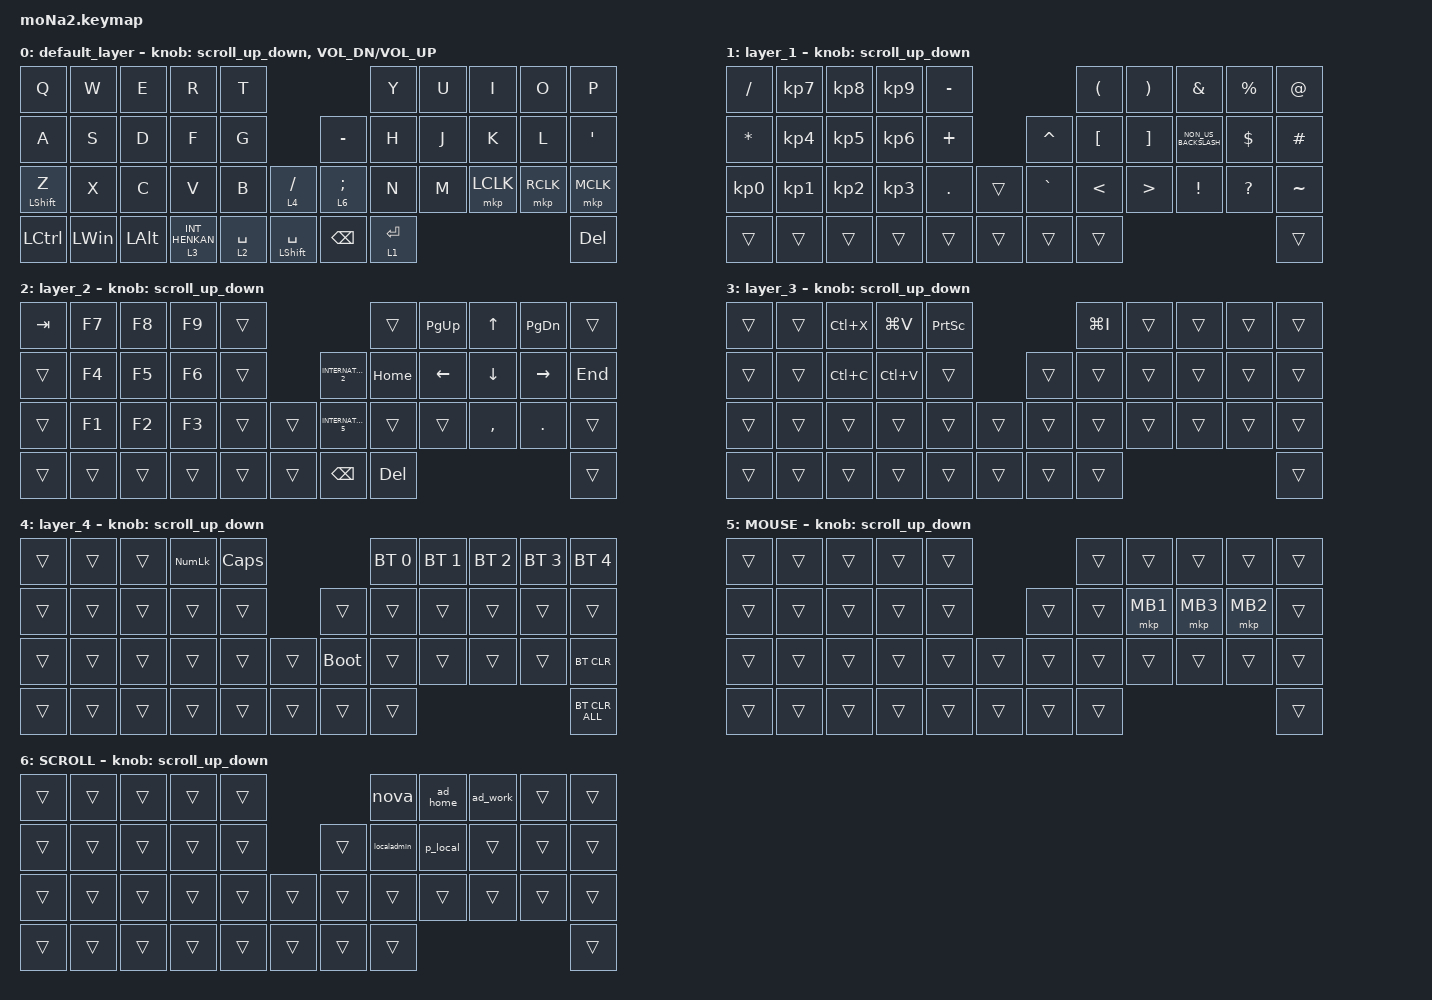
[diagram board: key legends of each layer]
#include <behaviors.dtsi>
#include <dt-bindings/zmk/bt.h>
#include <dt-bindings/zmk/keys.h>
#include <dt-bindings/zmk/pointing.h>

#define ZMK_POINTING_DEFAULT_SCRL_VAL 100
#define MOUSE 5
#define SCROLL 6

&mt {
    flavor = "balanced";
    quick-tap-ms = <0>;
};

/ {
    combos {
        compatible = "zmk,combos";

        tab {
            bindings = <&kp TAB>;
            key-positions = <0 1>;
        };

        esc {
            bindings = <&kp ESCAPE>;
            key-positions = <0 10>;
        };

        eq {
            bindings = <&kp EQUAL>;
            key-positions = <8 9>;
        };

        middlemkp {
            bindings = <&mkp MCLK>;
            key-positions = <30 31>;
        };

        ch_langage {
            bindings = <&kp LS(CAPS)>;
            key-positions = <39 38>;
        };
    };

    macros {
        nova: to_layer_0 {
            compatible = "zmk,behavior-macro";
            #binding-cells = <0>;
            bindings = <&kp LS(T) &kp N1 &kp N0 &kp H &kp N7 &kp I &kp N3 &kp N2>;
            label = "TO_LAYER_0";
        };

        ad_work: ad_work {
            compatible = "zmk,behavior-macro";
            #binding-cells = <0>;
            bindings = <&kp N &kp O &kp B &kp A &kp T &kp A &kp MINUS &kp S &kp AT &kp A &kp Z &kp U &kp S &kp A &kp S &kp E &kp K &kp K &kp E &kp I &kp DOT &kp C &kp O &kp DOT &kp J &kp P>;
            label = "AD_WORK";
        };

        ad_home: ad_home {
            compatible = "zmk,behavior-macro";
            #binding-cells = <0>;
            bindings = <&none &kp N &kp O &kp V &kp A &kp N8 &kp DOT &kp L &kp O &kp V &kp E &kp DOT &kp B &kp B &kp AT &kp G &kp M &kp A &kp I &kp L &kp DOT &kp C &kp O &kp M>;
            label = "AD_HOME";
        };

        localadmin: localadmin {
            compatible = "zmk,behavior-macro";
            #binding-cells = <0>;
            bindings = <&none &kp DOT &kp BSLH &kp L &kp O &kp C &kp A &kp L &kp A &kp D &kp M &kp I &kp N>;
            label = "LOCALADMIN";
        };

        p_local: p_local {
            compatible = "zmk,behavior-macro";
            #binding-cells = <0>;
            bindings = <&kp LS(N) &kp LS(G) &kp LS(J) &kp LS(T) &kp LS(Z) &kp LS(I) &kp LS(Z) &kp LS(Q)>;
            label = "P_LOCAL";
        };
    };

    behaviors {
        lt_to_layer_0: lt_to_layer_0 {
            compatible = "zmk,behavior-hold-tap";
            label = "LAYER_TAP_TO_0";
            bindings = <&mo>, <&nova>;

            #binding-cells = <2>;
            tapping-term-ms = <200>;
        };

        scroll_up_down: behavior_sensor_rotate_mouse_wheel_up_down {
            compatible = "zmk,behavior-sensor-rotate";
            #sensor-binding-cells = <0>;
            bindings = <&msc SCRL_UP>, <&msc SCRL_DOWN>;

            tap-ms = <20>;
        };
    };

    keymap {
        compatible = "zmk,keymap";

        default_layer {
            bindings = <
&kp Q             &kp W         &kp E         &kp R             &kp T                                                 &kp Y        &kp U  &kp I      &kp O      &kp P
&kp A             &kp S         &kp D         &kp F             &kp G                                &kp MINUS        &kp H        &kp J  &kp K      &kp L      &kp SQT
&mt LEFT_SHIFT Z  &kp X         &kp C         &kp V             &kp B        &lt 4 SLASH             &lt 6 SEMICOLON  &kp N        &kp M  &mkp LCLK  &mkp RCLK  &mkp MCLK
&kp LCTRL         &kp LEFT_WIN  &kp LEFT_ALT  &lt 3 INT_HENKAN  &lt 2 SPACE  &mt LEFT_SHIFT SPACE    &kp BACKSPACE    &lt 1 ENTER                               &kp DEL
            >;

            sensor-bindings =
                <&scroll_up_down>,
                <&inc_dec_kp C_VOL_DN C_VOL_UP>;
        };

        layer_1 {
            bindings = <
&kp SLASH        &kp KP_NUMBER_7  &kp KP_NUMBER_8  &kp KP_NUMBER_9  &kp MINUS                        &kp LEFT_PARENTHESIS  &kp RIGHT_PARENTHESIS  &kp AMPERSAND         &kp PERCENT   &kp AT_SIGN
&kp ASTERISK     &kp KP_NUMBER_4  &kp KP_NUMBER_5  &kp KP_NUMBER_6  &kp PLUS              &kp CARET  &kp LEFT_BRACKET      &kp RIGHT_BRACKET      &kp NON_US_BACKSLASH  &kp DOLLAR    &kp HASH
&kp KP_NUMBER_0  &kp KP_NUMBER_1  &kp KP_NUMBER_2  &kp KP_NUMBER_3  &kp PERIOD  &trans    &kp GRAVE  &kp LESS_THAN         &kp GREATER_THAN       &kp EXCLAMATION       &kp QUESTION  &kp TILDE
&trans           &trans           &trans           &trans           &trans      &trans    &trans     &trans                                                                           &trans
            >;

            sensor-bindings = <&scroll_up_down>;
        };

        layer_2 {
            bindings = <
&kp TAB  &kp F7  &kp F8  &kp F9  &trans                                 &trans    &kp PAGE_UP     &kp UP_ARROW    &kp PAGE_DOWN    &trans
&trans   &kp F4  &kp F5  &kp F6  &trans            &kp INTERNATIONAL_2  &kp HOME  &kp LEFT_ARROW  &kp DOWN_ARROW  &kp RIGHT_ARROW  &kp END
&trans   &kp F1  &kp F2  &kp F3  &trans  &trans    &kp INTERNATIONAL_5  &trans    &trans          &kp COMMA       &kp PERIOD       &trans
&trans   &trans  &trans  &trans  &trans  &trans    &kp BACKSPACE        &kp DEL                                                    &trans
            >;

            sensor-bindings = <&scroll_up_down>;
        };

        layer_3 {
            bindings = <
&trans  &trans  &kp LC(X)  &kp LG(V)  &kp PRINTSCREEN                    &kp LG(I)  &trans  &trans  &trans  &trans
&trans  &trans  &kp LC(C)  &kp LC(V)  &trans                     &trans  &trans     &trans  &trans  &trans  &trans
&trans  &trans  &trans     &trans     &trans           &trans    &trans  &trans     &trans  &trans  &trans  &trans
&trans  &trans  &trans     &trans     &trans           &trans    &trans  &trans                             &trans
            >;

            sensor-bindings = <&scroll_up_down>;
        };

        layer_4 {
            bindings = <
&trans  &trans  &trans  &kp KP_NUMLOCK  &kp CAPSLOCK                         &bt BT_SEL 0  &bt BT_SEL 1  &bt BT_SEL 2  &bt BT_SEL 3  &bt BT_SEL 4
&trans  &trans  &trans  &trans          &trans                  &trans       &trans        &trans        &trans        &trans        &trans
&trans  &trans  &trans  &trans          &trans        &trans    &bootloader  &trans        &trans        &trans        &trans        &bt BT_CLR
&trans  &trans  &trans  &trans          &trans        &trans    &trans       &trans                                                  &bt BT_CLR_ALL
            >;

            sensor-bindings = <&scroll_up_down>;
        };

        MOUSE {
            bindings = <
&trans  &trans  &trans  &trans  &trans                    &trans  &trans    &trans    &trans    &trans
&trans  &trans  &trans  &trans  &trans            &trans  &trans  &mkp MB1  &mkp MB3  &mkp MB2  &trans
&trans  &trans  &trans  &trans  &trans  &trans    &trans  &trans  &trans    &trans    &trans    &trans
&trans  &trans  &trans  &trans  &trans  &trans    &trans  &trans                                &trans
            >;

            sensor-bindings = <&scroll_up_down>;
        };

        SCROLL {
            bindings = <
&trans  &trans  &trans  &trans  &trans                    &nova        &ad_home  &ad_work  &trans  &trans
&trans  &trans  &trans  &trans  &trans            &trans  &localadmin  &p_local  &trans    &trans  &trans
&trans  &trans  &trans  &trans  &trans  &trans    &trans  &trans       &trans    &trans    &trans  &trans
&trans  &trans  &trans  &trans  &trans  &trans    &trans  &trans                                   &trans
            >;

            sensor-bindings = <&scroll_up_down>;
        };
    };
};
